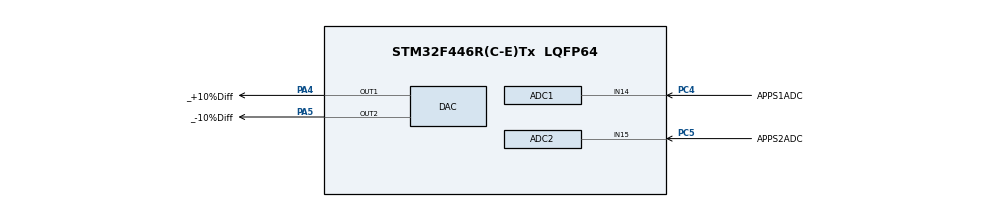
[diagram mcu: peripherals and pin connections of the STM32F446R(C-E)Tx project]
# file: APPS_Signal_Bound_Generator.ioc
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ADC1.Channel-1\#ChannelRegularConversion=ADC_CHANNEL_14
ADC1.NbrOfConversion=1
ADC1.NbrOfConversionFlag=1
ADC1.Rank-1\#ChannelRegularConversion=1
ADC1.SamplingTime-1\#ChannelRegularConversion=ADC_SAMPLETIME_3CYCLES
ADC1.master=1
ADC2.Channel-1\#ChannelRegularConversion=ADC_CHANNEL_15
ADC2.NbrOfConversionFlag=1
ADC2.Rank-1\#ChannelRegularConversion=1
ADC2.SamplingTime-1\#ChannelRegularConversion=ADC_SAMPLETIME_3CYCLES
Mcu.Family=STM32F4
Mcu.Name=STM32F446R(C-E)Tx
Mcu.Package=LQFP64
NVIC.PriorityGroup=NVIC_PRIORITYGROUP_4
PA13.GPIO_Label=SWDIO
PA13.Signal=SYS_JTMS-SWDIO
PA14.GPIO_Label=SWCLK
PA14.Signal=SYS_JTCK-SWCLK
PA4.GPIO_Label=_+10%Diff
PA4.Signal=COMP_DAC1_group
PA5.GPIO_Label=_-10%Diff
PA5.Signal=COMP_DAC2_group
PC4.GPIO_Label=APPS1ADC
PC4.Signal=ADCx_IN14
PC5.GPIO_Label=APPS2ADC
PC5.Signal=ADCx_IN15
ProjectManager.HeapSize=0x200
ProjectManager.StackSize=0x400
ProjectManager.TargetToolchain=STM32CubeIDE
RCC.CortexFreq_Value=16000000
RCC.USBFreq_Value=96000000
RCC.VCOOutputFreq_Value=192000000
SH.ADCx_IN14.0=ADC1_IN14,IN14
SH.ADCx_IN15.0=ADC2_IN15,IN15
SH.COMP_DAC1_group.0=DAC_OUT1,DAC_OUT1
SH.COMP_DAC2_group.0=DAC_OUT2,DAC_OUT2
board=custom

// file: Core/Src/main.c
/* USER CODE BEGIN Header */
/**
  ******************************************************************************
  * @file           : main.c
  * @brief          : Main program body
  ******************************************************************************
  * @attention
  *
  * Copyright (c) 2025 STMicroelectronics.
  * All rights reserved.
  *
  * This software is licensed under terms that can be found in the LICENSE file
  * in the root directory of this software component.
  * If no LICENSE file comes with this software, it is provided AS-IS.
  *
  ******************************************************************************
  */
/* USER CODE END Header */
#include "main.h"
#include <stdlib.h>

/* USER CODE BEGIN PD */

// number of sample sets per buffer half

/* USER CODE END PD */

ADC_HandleTypeDef hadc1;
ADC_HandleTypeDef hadc2;

DAC_HandleTypeDef hdac;

/* USER CODE BEGIN PV */

uint32_t sens1UpperBound = (int)((1.74/3.3) * 4095);
uint32_t sens1LowerBound = (int)((0.77/3.3) * 4095);

uint32_t sens2UpperBound = (int)((0.67/3.3) * 4095);
uint32_t sens2LowerBound = (int)((1.69/3.3) * 4095);

double sensAcceptibleDiff = 0.1;

//  Low to High Sensor
volatile uint16_t sens1PC4;

// High to Low Sensor
volatile uint16_t sens2PC5;
/* USER CODE END PV */

void SystemClock_Config(void);
static void MX_GPIO_Init(void);
static void MX_ADC1_Init(void);
static void MX_DAC_Init(void);
static void MX_ADC2_Init(void);

int main(void)
{

  /* USER CODE BEGIN 1 */

	//initializing ADC pins

	//initializing DAC pins
	HAL_DAC_Start(&hdac, DAC_CHANNEL_1);  // PA4 (DAC1_OUT1)
	HAL_DAC_Start(&hdac, DAC_CHANNEL_2);  // PA5 (DAC1_OUT2)

  /* USER CODE END 1 */

  /* MCU Configuration--------------------------------------------------------*/

  /* Reset of all peripherals, Initializes the Flash interface and the Systick. */
  HAL_Init();

  /* Configure the system clock */
  SystemClock_Config();

  /* Initialize all configured peripherals */
  MX_GPIO_Init();
  MX_ADC1_Init();
  MX_DAC_Init();
  MX_ADC2_Init();
  /* USER CODE BEGIN 2 */
  HAL_ADC_Start_DMA(&hadc1, (uint32_t*)&sens1PC4, 1);
  HAL_ADC_Start_DMA(&hadc2, (uint32_t*)&sens2PC5, 1);

  HAL_DAC_Start(&hdac, DAC_CHANNEL_1);  // PA4
  HAL_DAC_Start(&hdac, DAC_CHANNEL_2);  // PA5
  /* USER CODE END 2 */

  /* Infinite loop */
  /* USER CODE BEGIN WHILE */
  while (1)
  {
	  // MY CODE, CAN BE REMOVED LATER
	  double sens1PressPercent = (double)(sens1PC4 / abs(sens1UpperBound - sens1LowerBound));
	  double sens2PressPercent = (double)(sens2PC5 / abs(sens2UpperBound - sens2LowerBound));

	  uint16_t sens1Range = abs(sens1UpperBound - sens1LowerBound);
	  uint16_t sens2Range = abs(sens2UpperBound - sens2LowerBound);

	  //uint16_t sens1UpperBound = sens1Range * (sens1PressPercent + sensAcceptibleDiff);
	  //uint16_t sens1LowerBound = sens1Range * (sens1PressPercent - sensAcceptibleDiff);
	  //

	  //WHAT AARON WANTS

	  uint16_t sens1UpperBound = (sens2PC5 - sens1PC4) + (sens1PC4 * sensAcceptibleDiff);
	  uint16_t sens1LowerBound = (sens2PC5 - sens1PC4) + (sens1PC4 * sensAcceptibleDiff);

	  // values output to analog pins 0v - ~3.3v
	  HAL_DAC_SetValue(&hdac, DAC_CHANNEL_1, DAC_ALIGN_12B_R, sens1UpperBound); // 0–4095
	  HAL_DAC_SetValue(&hdac, DAC_CHANNEL_2, DAC_ALIGN_12B_R, sens1LowerBound);

    /* USER CODE END WHILE */

  }
}

void SystemClock_Config(void)
{
  RCC_OscInitTypeDef RCC_OscInitStruct = {0};
  RCC_ClkInitTypeDef RCC_ClkInitStruct = {0};

  /** Configure the main internal regulator output voltage
  */
  __HAL_RCC_PWR_CLK_ENABLE();
  __HAL_PWR_VOLTAGESCALING_CONFIG(PWR_REGULATOR_VOLTAGE_SCALE3);

  /** Initializes the RCC Oscillators according to the specified parameters
  * in the RCC_OscInitTypeDef structure.
  */
  RCC_OscInitStruct.OscillatorType = RCC_OSCILLATORTYPE_HSI;
  RCC_OscInitStruct.HSIState = RCC_HSI_ON;
  RCC_OscInitStruct.HSICalibrationValue = RCC_HSICALIBRATION_DEFAULT;
  RCC_OscInitStruct.PLL.PLLState = RCC_PLL_NONE;
  if (HAL_RCC_OscConfig(&RCC_OscInitStruct) != HAL_OK)
  {
    Error_Handler();
  }

  /** Initializes the CPU, AHB and APB buses clocks
  */
  RCC_ClkInitStruct.ClockType = RCC_CLOCKTYPE_HCLK|RCC_CLOCKTYPE_SYSCLK
                              |RCC_CLOCKTYPE_PCLK1|RCC_CLOCKTYPE_PCLK2;
  RCC_ClkInitStruct.SYSCLKSource = RCC_SYSCLKSOURCE_HSI;
  RCC_ClkInitStruct.AHBCLKDivider = RCC_SYSCLK_DIV1;
  RCC_ClkInitStruct.APB1CLKDivider = RCC_HCLK_DIV1;
  RCC_ClkInitStruct.APB2CLKDivider = RCC_HCLK_DIV1;

  if (HAL_RCC_ClockConfig(&RCC_ClkInitStruct, FLASH_LATENCY_0) != HAL_OK)
  {
    Error_Handler();
  }
}

static void MX_ADC1_Init(void)
{

  ADC_ChannelConfTypeDef sConfig = {0};

  /** Configure the global features of the ADC (Clock, Resolution, Data Alignment and number of conversion)
  */
  hadc1.Instance = ADC1;
  hadc1.Init.ClockPrescaler = ADC_CLOCK_SYNC_PCLK_DIV2;
  hadc1.Init.Resolution = ADC_RESOLUTION_12B;
  hadc1.Init.ScanConvMode = DISABLE;
  hadc1.Init.ContinuousConvMode = DISABLE;
  hadc1.Init.DiscontinuousConvMode = DISABLE;
  hadc1.Init.ExternalTrigConvEdge = ADC_EXTERNALTRIGCONVEDGE_NONE;
  hadc1.Init.ExternalTrigConv = ADC_SOFTWARE_START;
  hadc1.Init.DataAlign = ADC_DATAALIGN_RIGHT;
  hadc1.Init.NbrOfConversion = 1;
  hadc1.Init.DMAContinuousRequests = DISABLE;
  hadc1.Init.EOCSelection = ADC_EOC_SINGLE_CONV;
  if (HAL_ADC_Init(&hadc1) != HAL_OK)
  {
    Error_Handler();
  }

  /** Configure for the selected ADC regular channel its corresponding rank in the sequencer and its sample time.
  */
  sConfig.Channel = ADC_CHANNEL_14;
  sConfig.Rank = 1;
  sConfig.SamplingTime = ADC_SAMPLETIME_3CYCLES;
  if (HAL_ADC_ConfigChannel(&hadc1, &sConfig) != HAL_OK)
  {
    Error_Handler();
  }

}

static void MX_ADC2_Init(void)
{

  ADC_ChannelConfTypeDef sConfig = {0};

  /** Configure the global features of the ADC (Clock, Resolution, Data Alignment and number of conversion)
  */
  hadc2.Instance = ADC2;
  hadc2.Init.ClockPrescaler = ADC_CLOCK_SYNC_PCLK_DIV2;
  hadc2.Init.Resolution = ADC_RESOLUTION_12B;
  hadc2.Init.ScanConvMode = DISABLE;
  hadc2.Init.ContinuousConvMode = DISABLE;
  hadc2.Init.DiscontinuousConvMode = DISABLE;
  hadc2.Init.ExternalTrigConvEdge = ADC_EXTERNALTRIGCONVEDGE_NONE;
  hadc2.Init.ExternalTrigConv = ADC_SOFTWARE_START;
  hadc2.Init.DataAlign = ADC_DATAALIGN_RIGHT;
  hadc2.Init.NbrOfConversion = 1;
  hadc2.Init.DMAContinuousRequests = DISABLE;
  hadc2.Init.EOCSelection = ADC_EOC_SINGLE_CONV;
  if (HAL_ADC_Init(&hadc2) != HAL_OK)
  {
    Error_Handler();
  }

  /** Configure for the selected ADC regular channel its corresponding rank in the sequencer and its sample time.
  */
  sConfig.Channel = ADC_CHANNEL_15;
  sConfig.Rank = 1;
  sConfig.SamplingTime = ADC_SAMPLETIME_3CYCLES;
  if (HAL_ADC_ConfigChannel(&hadc2, &sConfig) != HAL_OK)
  {
    Error_Handler();
  }

}

static void MX_DAC_Init(void)
{

  DAC_ChannelConfTypeDef sConfig = {0};

  /** DAC Initialization
  */
  hdac.Instance = DAC;
  if (HAL_DAC_Init(&hdac) != HAL_OK)
  {
    Error_Handler();
  }

  /** DAC channel OUT1 config
  */
  sConfig.DAC_Trigger = DAC_TRIGGER_NONE;
  sConfig.DAC_OutputBuffer = DAC_OUTPUTBUFFER_ENABLE;
  if (HAL_DAC_ConfigChannel(&hdac, &sConfig, DAC_CHANNEL_1) != HAL_OK)
  {
    Error_Handler();
  }

  /** DAC channel OUT2 config
  */
  if (HAL_DAC_ConfigChannel(&hdac, &sConfig, DAC_CHANNEL_2) != HAL_OK)
  {
    Error_Handler();
  }

}

static void MX_GPIO_Init(void)
{

  /* GPIO Ports Clock Enable */
  __HAL_RCC_GPIOA_CLK_ENABLE();
  __HAL_RCC_GPIOC_CLK_ENABLE();

}

/* USER CODE BEGIN 4 */
/*
void writeFlashValue(uint32_t memory_address, uint8_t* data, uint16_t data_length) {
	//start manipulating flash memory
	HAL_FLASH_Unlock();

	//end manipulating flash memory
	HAL_FLASH_Lock();
}
*/

void readFlashValue() {

}

/* USER CODE END 4 */

void Error_Handler(void)
{
  __disable_irq();
  while (1)
  {
  }
}
